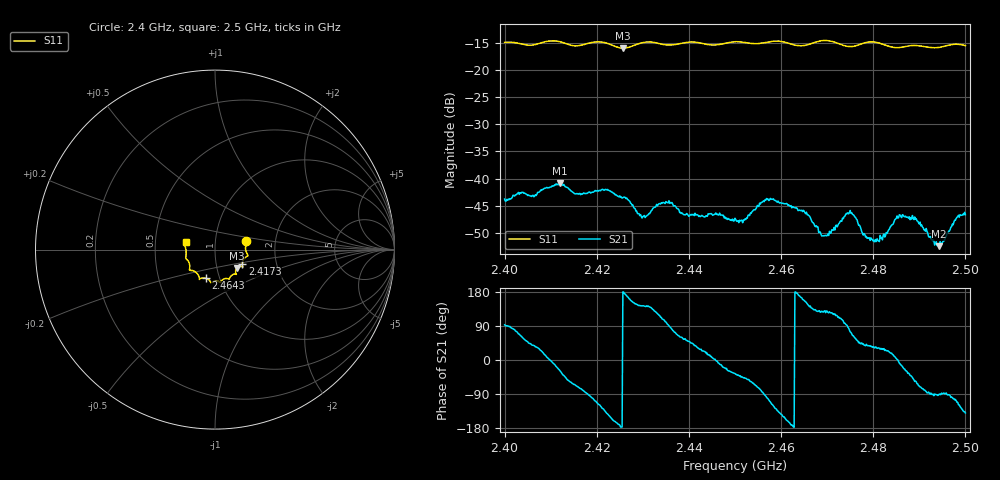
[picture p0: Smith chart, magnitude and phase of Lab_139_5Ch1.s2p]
# Hz S RI R 50
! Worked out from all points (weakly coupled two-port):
!   601 points, 2.4 GHz to 2.5 GHz, reference 50 ohm
!   highest |S21| = -40.91 dB at 2.412 GHz (marker M1); lowest = -52.5 dB at 2.4943 GHz (marker M2)
!   lowest |S11| = -15.9 dB at 2.4257 GHz (marker M3), VSWR 1.38, Z = 62.4 - j13.2 ohm
!   |S11| at or under -10 dB: start of sweep to end of sweep
!   S12 and S22 are empty: the file has one direction only
!   S11 on the Smith chart (normalised r, x): 2.4 GHz: 1.41, +0.14; 2.4173 GHz: 1.34, -0.23; 2.4643 GHz: 0.86, -0.28; 2.5 GHz: 0.72, +0.06
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2.4e9  0.1738 0.0494  -0.000309 0.00645  0 0  0 0
2.412e9  0.1796 -0.0364  0.00795 -0.00423  0 0  0 0
2.416667e9  0.1529 -0.0748  0.00169 -0.00701  0 0  0 0
2.417333e9  0.1522 -0.0822  0.000847 -0.00723  0 0  0 0
2.421833e9  0.1524 -0.0949  -0.00564 -0.00558  0 0  0 0
2.425667e9  0.1223 -0.1027  -0.00665 3.73e-05  0 0  0 0
2.430167e9  0.1179 -0.1368  -0.0036 0.00271  0 0  0 0
2.433333e9  0.1126 -0.1364  -0.00294 0.00496  0 0  0 0
2.45e9  0.0293 -0.1809  0.00348 -0.00251  0 0  0 0
2.452167e9  0.0221 -0.1787  0.00283 -0.00315  0 0  0 0
2.457333e9  -0.0153 -0.1819  -0.00167 -0.00603  0 0  0 0
2.464333e9  -0.0503 -0.1603  -0.0049 0.00131  0 0  0 0
2.466667e9  -0.0764 -0.1594  -0.00294 0.00275  0 0  0 0
2.469333e9  -0.0875 -0.1665  -0.00185 0.0023  0 0  0 0
2.474833e9  -0.1048 -0.1277  0.000952 0.00473  0 0  0 0
2.479833e9  -0.1428 -0.114  0.00228 0.00151  0 0  0 0
2.483333e9  -0.1405 -0.0895  0.00308 0.00129  0 0  0 0
2.4855e9  -0.147 -0.067  0.00434 -0.000337  0 0  0 0
2.488833e9  -0.1625 -0.0471  0.00254 -0.00331  0 0  0 0
2.494333e9  -0.1624 0.00264  -1.63e-06 -0.00237  0 0  0 0
2.498e9  -0.1709 0.0317  -0.00127 -0.00409  0 0  0 0
2.5e9  -0.1635 0.0415  -0.00353 -0.003  0 0  0 0
